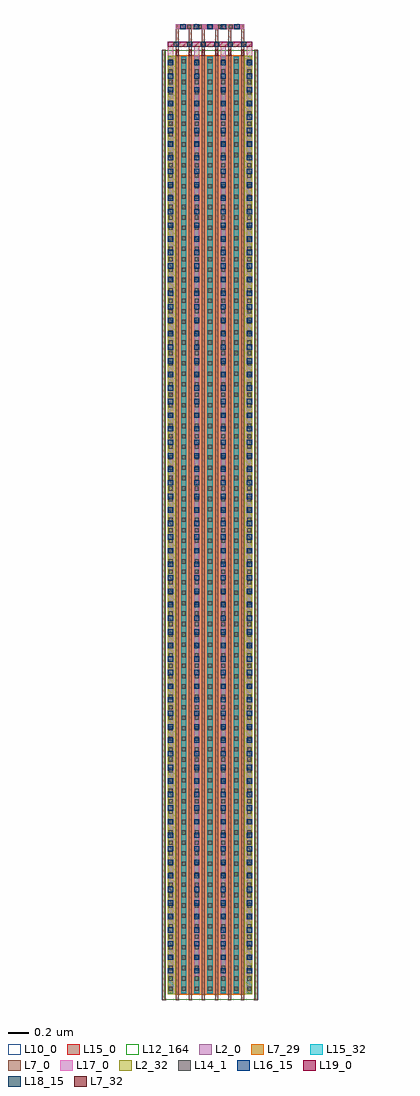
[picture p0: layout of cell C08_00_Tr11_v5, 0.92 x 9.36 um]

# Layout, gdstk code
import gdstk
lib = gdstk.Library(unit=1e-6, precision=1e-09)
def R(c, l, rs):  # rectangles x0, y0, x1, y1
    for r in rs: c.add(gdstk.rectangle(r[:2], r[2:], *l))
def A(c, l, x, y, w, h, nx, ny, dx, dy):  # array of equal rectangles
    R(c, l, [(x+i*dx, y+j*dy, x+i*dx+w, y+j*dy+h) for i in range(nx) for j in range(ny)])
L2_0 = (2, 0)
L2_32 = (2, 32)
L7_0 = (7, 0)
L7_29 = (7, 29)
L7_32 = (7, 32)
L10_0 = (10, 0)
L12_164 = (12, 164)
L14_1 = (14, 1)
L15_0 = (15, 0)
L15_32 = (15, 32)
L16_15 = (16, 15)
L17_0 = (17, 0)
L18_15 = (18, 15)
L19_0 = (19, 0)

c08_00_tr11_v5_srf_pmos_ = lib.new_cell('C08_00_Tr11_v5:SRF_Pmos:SRF_Source_ViaM1M2:SRF_ViaM1M2')
R(c08_00_tr11_v5_srf_pmos_, L15_0, [(0,-8.742,0.05,0.082)])
A(c08_00_tr11_v5_srf_pmos_, L16_15, 0, -8.71, 0.05, 0.05, 1, 68, 0, 0.13)
R(c08_00_tr11_v5_srf_pmos_, L17_0, [(0,-8.742,0.05,0.082)])

c_c08_00_tr11_v5_srf_pmos_ = lib.new_cell('C08_00_Tr11_v5:SRF_Pmos:SRF_Source_ViaM1M2')
c_c08_00_tr11_v5_srf_pmos_.add(gdstk.Reference(c08_00_tr11_v5_srf_pmos_, (-0.025,4.33)))

c_c08_00_tr11_v5_srf_pmos__ = lib.new_cell('C08_00_Tr11_v5:SRF_Pmos:SRF_Gate_ViaM0Mx:SRF_ViaM0M1')
R(c_c08_00_tr11_v5_srf_pmos__, L7_0, [(-0.01,-0.004,0.45,0.044)])
A(c_c08_00_tr11_v5_srf_pmos__, L14_1, 0, 0, 0.04, 0.04, 5, 1, 0.1, 0)
R(c_c08_00_tr11_v5_srf_pmos__, L15_0, [(-0.021,-0.005,0.461,0.045)])

c_c08_00_tr11_v5_srf_pmos___ = lib.new_cell('C08_00_Tr11_v5:SRF_Pmos:SRF_Gate_ViaM0Mx:SRF_ViaM1M2')
R(c_c08_00_tr11_v5_srf_pmos___, L15_0, [(-0.032,0,0.602,0.05)])
A(c_c08_00_tr11_v5_srf_pmos___, L16_15, 0, 0, 0.05, 0.05, 5, 1, 0.13, 0)
R(c_c08_00_tr11_v5_srf_pmos___, L17_0, [(-0.032,0,0.602,0.05)])

c_c08_00_tr11_v5_srf_pmos____ = lib.new_cell('C08_00_Tr11_v5:SRF_Pmos:SRF_Gate_ViaM0Mx')
c_c08_00_tr11_v5_srf_pmos____.add(gdstk.Reference(c_c08_00_tr11_v5_srf_pmos__, (-0.22,-0.02)))
c_c08_00_tr11_v5_srf_pmos____.add(gdstk.Reference(c_c08_00_tr11_v5_srf_pmos___, (-0.285,-0.025)))

c08_00_tr11_v5_srf_pmos = lib.new_cell('C08_00_Tr11_v5:SRF_Pmos')
R(c08_00_tr11_v5_srf_pmos, L2_0, [(-0.076,0.057,0.736,9.057)])
R(c08_00_tr11_v5_srf_pmos, L2_32, [(-0.076,0.057,0,9.057), (0.66,0.057,0.736,9.057)])
A(c08_00_tr11_v5_srf_pmos, L7_0, -0.126, 0, 0.03, 9.114, 8, 1, 0.126, 0)
A(c08_00_tr11_v5_srf_pmos, L7_0, 0, 9.114, 0.03, 0.2, 6, 1, 0.126, 0)
R(c08_00_tr11_v5_srf_pmos, L7_0, [(0,9.314,0.66,9.362)])
R(c08_00_tr11_v5_srf_pmos, L7_29, [(-0.005,0.052,0.665,9.062)])
A(c08_00_tr11_v5_srf_pmos, L7_32, 0, 9.057, 0.03, 0.057, 6, 1, 0.126, 0)
R(c08_00_tr11_v5_srf_pmos, L10_0, [(-0.132,0.001,0.792,9.113)])
R(c08_00_tr11_v5_srf_pmos, L12_164, [(-0.111,0.001,0.771,9.113)])
A(c08_00_tr11_v5_srf_pmos, L14_1, -0.068, 0.087, 0.04, 0.04, 7, 90, 0.126, 0.1)
R(c08_00_tr11_v5_srf_pmos, L15_0, [(-0.073,0.066,-0.023,9.048), (-0.073,0.066,-0.023,9.048), (0.053,0.066,0.103,9.048), (0.053,0.066,0.103,9.048), (0.179,0.066,0.229,9.048), (0.179,0.066,0.229,9.048), (0.305,0.066,0.355,9.048), (0.305,0.066,0.355,9.048), (0.431,0.066,0.481,9.048), (0.431,0.066,0.481,9.048), (0.557,0.066,0.607,9.048), (0.557,0.066,0.607,9.048), (0.683,0.066,0.733,9.048), (0.683,0.066,0.733,9.048)])
A(c08_00_tr11_v5_srf_pmos, L15_32, -0.073, 0.066, 0.05, 8.982, 7, 1, 0.126, 0)
A(c08_00_tr11_v5_srf_pmos, L17_0, -0.073, 9.048, 0.05, 0.095, 4, 1, 0.252, 0)
R(c08_00_tr11_v5_srf_pmos, L17_0, [(-0.073,9.143,0.733,9.193), (0,9.313,0.66,9.363)])
c08_00_tr11_v5_srf_pmos.add(gdstk.Reference(c_c08_00_tr11_v5_srf_pmos_, (-0.048,4.636)))
c08_00_tr11_v5_srf_pmos.add(gdstk.Reference(c_c08_00_tr11_v5_srf_pmos_, (0.204,4.636)))
c08_00_tr11_v5_srf_pmos.add(gdstk.Reference(c_c08_00_tr11_v5_srf_pmos_, (0.456,4.636)))
c08_00_tr11_v5_srf_pmos.add(gdstk.Reference(c_c08_00_tr11_v5_srf_pmos_, (0.708,4.636)))
c08_00_tr11_v5_srf_pmos.add(gdstk.Reference(c_c08_00_tr11_v5_srf_pmos____, (0.33,9.338)))

c08_00_tr11_v5_srf_sourc = lib.new_cell('C08_00_Tr11_v5:SRF_Source_ViaM2M3:SRF_ViaM2M3')
R(c08_00_tr11_v5_srf_sourc, L17_0, [(-0.032,0,0.732,0.05)])
A(c08_00_tr11_v5_srf_sourc, L18_15, 0, 0, 0.05, 0.05, 6, 1, 0.13, 0)
R(c08_00_tr11_v5_srf_sourc, L19_0, [(-0.032,0,0.732,0.05)])

c_c08_00_tr11_v5_srf_sourc = lib.new_cell('C08_00_Tr11_v5:SRF_Source_ViaM2M3')
c_c08_00_tr11_v5_srf_sourc.add(gdstk.Reference(c08_00_tr11_v5_srf_sourc, (-0.35,-0.025)))

c08_00_tr11_v5 = lib.new_cell('C08_00_Tr11_v5')
R(c08_00_tr11_v5, L19_0, [(-0.073,9.143,0.733,9.193)])
c08_00_tr11_v5.add(gdstk.Reference(c08_00_tr11_v5_srf_pmos, (0,0)))
c08_00_tr11_v5.add(gdstk.Reference(c_c08_00_tr11_v5_srf_sourc, (0.33,9.168)))

lib.write_gds('C08_00_Tr11_v5.gds')
